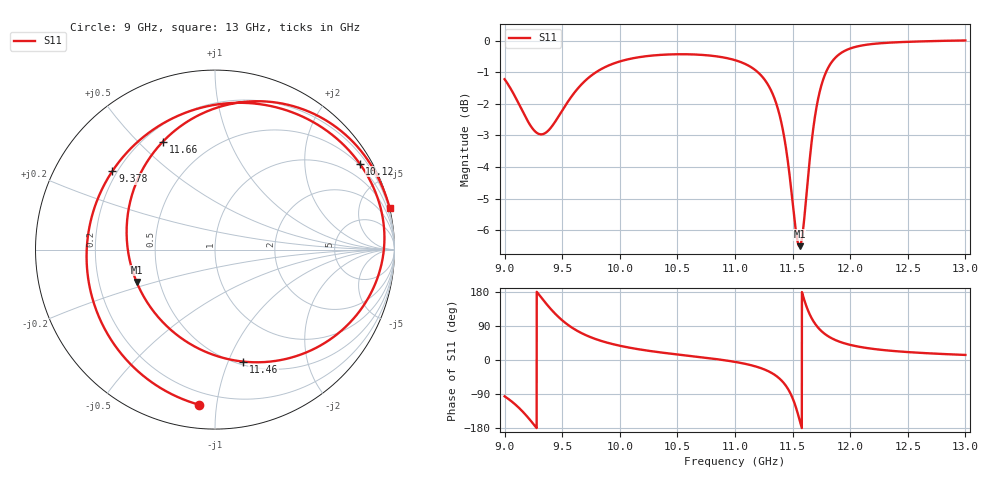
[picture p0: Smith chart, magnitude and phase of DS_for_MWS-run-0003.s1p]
! TOUCHSTONE file generated by CST DESIGN STUDIO
! Date and time: Tue Feb  4 16:26:36 2025
! Project name: C:\Work\MatlabApps\UnitCellOptimizationMatlab\CST\unitcell.cst
! Tree item: Tasks\Sweep1\SPara1\S-Parameters
! Header version: 2024
! Port assignment regex: !\s*Touchstone port\s*([0-9]+)\s*=\s*(CST MWS port|CST DES external port|CST DES block port)\s*(.+)\s* \(\"(.*)\"\)(\s*mode\s*([0-9]+))?.*
! Touchstone port assignment:
! Touchstone port 1 = CST DES external port 1 ("")
# GHz S MA R 50
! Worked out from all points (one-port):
!   4001 points, 9 GHz to 13 GHz, reference 50 ohm
!   lowest |S11| = -6.5 dB at 11.56 GHz (marker M1), VSWR 2.79, Z = 18.5 - j8.61 ohm
!   |S11| at or under -10 dB: nowhere
!   S11 on the Smith chart (normalised r, x): 9 GHz: 0.13, -0.89; 9.378 GHz: 0.18, +0.33; 10.12 GHz: 0.45, +3.59; 11.46 GHz: 0.53, -1.14; 11.66 GHz: 0.27, +0.59; 13 GHz: -0.02, +8.54
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9  0.8687 -95.9
9.111  0.8022 -122.4
9.223  0.7343 -158.9
9.298  0.7116 172.6
9.378  0.72 142.5
9.5  0.7749 104.7
9.599  0.8241 82.7
9.729  0.8734 62.4
9.854  0.9044 48.9
10  0.9268 37.6
10.117  0.9378 30.7
10.5  0.9514 14.6
11  0.9312 -5.0
11.174  0.8988 -16.6
11.294  0.8468 -30.3
11.383  0.7673 -48.1
11.459  0.6435 -75.8
11.5  0.5549 -100.7
11.56  0.4728 -157.5
11.605  0.5315 154.9
11.656  0.6677 115.8
11.719  0.8047 86.2
11.809  0.9059 62.6
11.893  0.9475 49.9
12  0.9716 39.9
12.196  0.9878 29.4
12.5  0.9954 20.9
13  1 13.4
